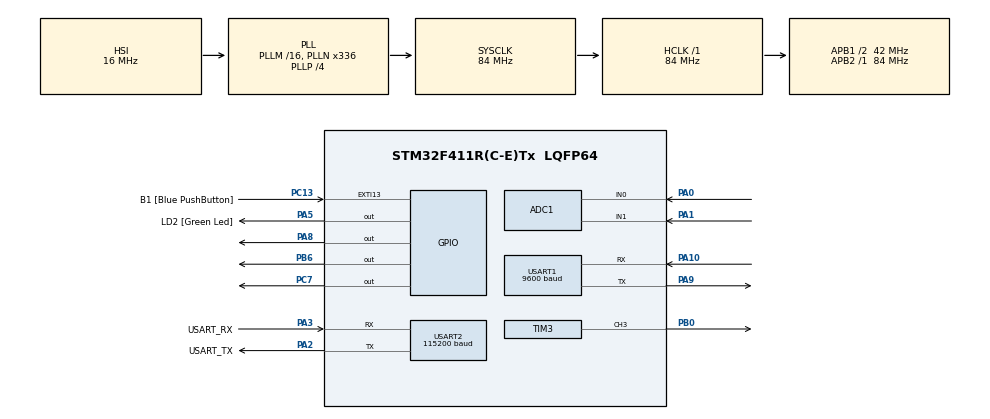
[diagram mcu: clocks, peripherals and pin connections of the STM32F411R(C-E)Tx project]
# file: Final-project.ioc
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ADC1.Channel-1\#ChannelRegularConversion=ADC_CHANNEL_0
ADC1.NbrOfConversionFlag=1
ADC1.Rank-1\#ChannelRegularConversion=1
ADC1.SamplingTime-1\#ChannelRegularConversion=ADC_SAMPLETIME_3CYCLES
ADC1.master=1
Mcu.Family=STM32F4
Mcu.Name=STM32F411R(C-E)Tx
Mcu.Package=LQFP64
NVIC.PriorityGroup=NVIC_PRIORITYGROUP_0
NVIC.USART1_IRQn=true\:0\:0\:false\:false\:true\:true\:true\:true
PA0-WKUP.Signal=ADCx_IN0
PA1.Signal=ADCx_IN1
PA10.Mode=Asynchronous
PA10.Signal=USART1_RX
PA13.GPIO_Label=TMS
PA13.Mode=Serial_Wire
PA13.Signal=SYS_JTMS-SWDIO
PA14.GPIO_Label=TCK
PA14.Mode=Serial_Wire
PA14.Signal=SYS_JTCK-SWCLK
PA2.GPIO_Label=USART_TX
PA2.Mode=Asynchronous
PA2.Signal=USART2_TX
PA3.GPIO_Label=USART_RX
PA3.Mode=Asynchronous
PA3.Signal=USART2_RX
PA5.GPIO_Label=LD2 [Green Led]
PA5.Signal=GPIO_Output
PA8.Signal=GPIO_Output
PA9.Mode=Asynchronous
PA9.Signal=USART1_TX
PB0.Signal=S_TIM3_CH3
PB3.GPIO_Label=SWO
PB3.Signal=SYS_JTDO-SWO
PB6.Signal=GPIO_Output
PC13-ANTI_TAMP.GPIO_Label=B1 [Blue PushButton]
PC13-ANTI_TAMP.GPIO_ModeDefaultEXTI=GPIO_MODE_IT_FALLING
PC13-ANTI_TAMP.Signal=GPXTI13
PC14-OSC32_IN.Mode=LSE-External-Oscillator
PC14-OSC32_IN.Signal=RCC_OSC32_IN
PC15-OSC32_OUT.Mode=LSE-External-Oscillator
PC15-OSC32_OUT.Signal=RCC_OSC32_OUT
PC7.Signal=GPIO_Output
PH0\ -\ OSC_IN.Mode=HSE-External-Clock-Source
PH0\ -\ OSC_IN.Signal=RCC_OSC_IN
PH1\ -\ OSC_OUT.Mode=HSE-External-Clock-Source
PH1\ -\ OSC_OUT.Signal=RCC_OSC_OUT
ProjectManager.HeapSize=0x200
ProjectManager.StackSize=0x400
ProjectManager.TargetToolchain=STM32CubeIDE
RCC.48MHZClocksFreq_Value=84000000
RCC.AHBFreq_Value=84000000
RCC.APB1CLKDivider=RCC_HCLK_DIV2
RCC.APB1Freq_Value=42000000
RCC.APB1TimFreq_Value=84000000
RCC.APB2Freq_Value=84000000
RCC.APB2TimFreq_Value=84000000
RCC.CortexFreq_Value=84000000
RCC.FLatency-AdvancedSettings=FLASH_LATENCY_2
RCC.HCLKFreq_Value=84000000
RCC.HSE_VALUE=8000000
RCC.HSI_VALUE=16000000
RCC.PLLN=336
RCC.PLLP=RCC_PLLP_DIV4
RCC.SYSCLKFreq_VALUE=84000000
RCC.SYSCLKSource=RCC_SYSCLKSOURCE_PLLCLK
RCC.VCOOutputFreq_Value=336000000
SH.ADCx_IN0.0=ADC1_IN0,IN0
SH.ADCx_IN1.0=ADC1_IN1,IN1
SH.S_TIM3_CH3.0=TIM3_CH3,PWM Generation3 CH3
TIM3.Channel-PWM\ Generation3\ CH3=TIM_CHANNEL_3
TIM3.Period=0xffff-1
TIM3.Prescaler=84-1
USART1.BaudRate=9600
USART1.VirtualMode=VM_ASYNC
USART2.BaudRate=115200
USART2.VirtualMode=VM_ASYNC
VP_TIM3_VS_ClockSourceINT.Mode=Internal
board=NUCLEO-F411RE

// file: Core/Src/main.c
/* USER CODE BEGIN Header */
/**
  ******************************************************************************
  * @file           : main.c
  * @brief          : Main program body
  ******************************************************************************
  * @attention
  *
  * Copyright (c) 2023 STMicroelectronics.
  * All rights reserved.
  *
  * This software is licensed under terms that can be found in the LICENSE file
  * in the root directory of this software component.
  * If no LICENSE file comes with this software, it is provided AS-IS.
  *
  ******************************************************************************
  */
/* USER CODE END Header */
#include "main.h"

/* USER CODE BEGIN Includes */
#include "DHT.h"
/* USER CODE END Includes */

/* USER CODE BEGIN PD */
#define Vin 3.3 //power voltage
#define R 10000 //Resistor

/* USER CODE END PD */

ADC_HandleTypeDef hadc1;

TIM_HandleTypeDef htim3;

UART_HandleTypeDef huart1;
UART_HandleTypeDef huart2;

/* USER CODE BEGIN PV */

typedef struct pair_temp_humid {
    double tCelsius;
    double humidity;
} tmp_humid;

int light;
double soilMoist;
tmp_humid tmpHumid;

char str[200];

char text[1000];
char rx_data[1];

int LEDstate = 0;
int animation = 0;

DHT_DataTypedef DHT11_Data;

/* USER CODE END PV */

void SystemClock_Config(void);
static void MX_GPIO_Init(void);
static void MX_USART2_UART_Init(void);
static void MX_ADC1_Init(void);
static void MX_TIM3_Init(void);
static void MX_USART1_UART_Init(void);

/* USER CODE BEGIN 0 */

uint32_t ADC_ReadChannel(uint32_t channel)
{

  ADC_ChannelConfTypeDef sConfig = {0};

  // Configure ADC channel
  sConfig.Channel = channel;
  sConfig.Rank = 1;
  sConfig.SamplingTime = ADC_SAMPLETIME_3CYCLES;

  HAL_ADC_ConfigChannel(&hadc1, &sConfig);

  // Start ADC conversion
  HAL_ADC_Start(&hadc1);

  // Wait for conversion to complete
  uint32_t adcValue = 0;

  if( HAL_ADC_PollForConversion(&hadc1, HAL_MAX_DELAY) == HAL_OK )
	  adcValue = HAL_ADC_GetValue(&hadc1);

  // Stop ADC conversion
  HAL_ADC_Stop(&hadc1);

  return adcValue;
}

//LDR --------------------------------------
int LDRconversion(int raw_val){
  // Conversion rule
  double Vout = (double)raw_val * Vin / ( 4096.0 - 1.0 );// Conversion analog to voltage
  double RLDR = (R * (Vin - Vout))/Vout; // Conversion voltage to resistance
  int lux = 500/(RLDR/1000); // Conversion resitance to lumen
  return lux;
}

void Light_intensity_readData(){
	int LDRval = 0;

	LDRval = ADC_ReadChannel(ADC_CHANNEL_0);

	//HAL_UART_Transmit(&huart2, (uint8_t*)str, sprintf(str, "LDR00-%d\r\n", LDRval )  , 10 );

	light = LDRconversion(LDRval);
}

//Soil Moisture ----------------------------
double SoilMoisturePercentage(int raw_val){

	//For Capacitive Soil Moisture Sensor
	//double percentage = 100 - ( (double)raw_val / ( 4096.0 - 1.0 ) ) * 100;

	//For probe - Noted: data is collected when Using Vin = 5 V, R = 330 ohm
	//ADC output when soil is dry = 0
	//ADC output when soil is in the water = 800 (approximately, test by dip probe in the water)
	double percentage = ( (double)raw_val / 800.0 ) * 100.0; // Conversion ADC value to percentage

	//Noted2: may have error due to data we collect (eg. a little bit higher than max we have known)
	if( percentage > 100.0 ) percentage = 100;

	return percentage;
}

void Soil_moisture_readData(){
	int SoilMoistval = 0;

	SoilMoistval = ADC_ReadChannel(ADC_CHANNEL_1);

	//HAL_UART_Transmit(&huart2, (uint8_t*)str, sprintf(str, "Soil01-%d\r\n", SoilMoistval )  , 10 );

	soilMoist = SoilMoisturePercentage(SoilMoistval);

}

//Temperature and Humidity -----------------
void Temp_Humid_readData(){

	DHT_GetData(&DHT11_Data);
	tmpHumid.tCelsius = DHT11_Data.Temperature;
	tmpHumid.humidity = DHT11_Data.Humidity;

}

//For Interact with NodeMCU
void HAL_UART_RxCpltCallback(UART_HandleTypeDef *huart) {

	if( huart == &huart1 ){
		int tInt = tmpHumid.tCelsius, tFloat = (int)( tmpHumid.tCelsius * 10 ) % 10;
		int aInt = tmpHumid.humidity, aFloat = (int)( tmpHumid.humidity * 10 ) % 10;
		int l = light;
		int sInt = soilMoist, sFloat = (int)( soilMoist * 10 ) % 10;

		sprintf(text, "{\"data\": {\"temperature\": %d.%d, \"airHumidity\": %d.%d, \"lightIntensity\": %d, \"soilHumidity\": %d.%d}}", tInt, tFloat, aInt, aFloat, l, sInt, sFloat);

		HAL_UART_Transmit(&huart1, text, strlen(text), 100);
	    //HAL_UART_Transmit(&huart2, text, strlen(text), 100); // internal uart
		HAL_UART_Receive_IT(&huart1, rx_data, 1);
	}

}

//Toggle LED
//Notice: Doesn't use
void Toggle_LED(){

	switch( LEDstate ){
		case 0: //HAL_GPIO_WritePin(GPIOA, GPIO_PIN_9, GPIO_PIN_RESET);
				HAL_GPIO_WritePin(GPIOC, GPIO_PIN_7, GPIO_PIN_SET);
				HAL_GPIO_WritePin(GPIOB, GPIO_PIN_6, GPIO_PIN_SET);
				break;
		case 1: //HAL_GPIO_WritePin(GPIOA, GPIO_PIN_9, GPIO_PIN_SET);
				HAL_GPIO_WritePin(GPIOC, GPIO_PIN_7, GPIO_PIN_RESET);
				HAL_GPIO_WritePin(GPIOB, GPIO_PIN_6, GPIO_PIN_SET);
				break;
		case 2: //HAL_GPIO_WritePin(GPIOA, GPIO_PIN_9, GPIO_PIN_SET);
				HAL_GPIO_WritePin(GPIOC, GPIO_PIN_7, GPIO_PIN_SET);
				HAL_GPIO_WritePin(GPIOB, GPIO_PIN_6, GPIO_PIN_RESET);
				break;
	}

	LEDstate = ( LEDstate + 1 ) % 3;

}

//Print kitten
//Notice: It is a very cute reporter.
void Print_console(){

	char escape_sequence2[16];
	sprintf(escape_sequence2, "\033[%d;%dH", 0, 0);
	HAL_UART_Transmit(&huart2, (uint8_t*)escape_sequence2, strlen(escape_sequence2), HAL_MAX_DELAY);

	char pData[100];

	int tInt = tmpHumid.tCelsius, tFloat = (int)( tmpHumid.tCelsius * 10 ) % 10;
	int aInt = tmpHumid.humidity, aFloat = (int)( tmpHumid.humidity * 10 ) % 10;
	int l = light;
	int sInt = soilMoist, sFloat = (int)( soilMoist * 10 ) % 10;

	HAL_UART_Transmit(&huart2, (uint8_t*)pData, sprintf(pData, " __________________________\r\n" )  , 10 );
	HAL_UART_Transmit(&huart2, (uint8_t*)pData, sprintf(pData, "|                          |\r\n" )  , 10 );
	HAL_UART_Transmit(&huart2, (uint8_t*)pData, sprintf(pData, "|  let's plant <3          |\r\n" )  , 10 );
	HAL_UART_Transmit(&huart2, (uint8_t*)pData, sprintf(pData, "|  Light Intensity:   %4d |\r\n", light )  , 10 );
	HAL_UART_Transmit(&huart2, (uint8_t*)pData, sprintf(pData, "|  Soil Moisture:    %3d.%d |\r\n", sInt, sFloat )  , 10 );
	HAL_UART_Transmit(&huart2, (uint8_t*)pData, sprintf(pData, "|  Temperature:    %3d.%d C |\r\n", tInt, tFloat )  , 10 );
	HAL_UART_Transmit(&huart2, (uint8_t*)pData, sprintf(pData, "|  Humidity:         %3d.%d |\r\n", aInt, aFloat )  , 10 );
	HAL_UART_Transmit(&huart2, (uint8_t*)pData, sprintf(pData, "|_______   ________________|\r\n" )  , 10 );
	HAL_UART_Transmit(&huart2, (uint8_t*)pData, sprintf(pData, "         V\r\n" )  , 10 );

	if( animation == 0 ){
		HAL_UART_Transmit(&huart2, (uint8_t*)pData, sprintf(pData, "      /\\_/\\   \r\n" )  , 10 );
		HAL_UART_Transmit(&huart2, (uint8_t*)pData, sprintf(pData, "     ( o.o )  \r\n" )  , 10 );
		HAL_UART_Transmit(&huart2, (uint8_t*)pData, sprintf(pData, "      > ^ <   \r\n" )  , 10 );
		HAL_UART_Transmit(&huart2, (uint8_t*)pData, sprintf(pData, "    /  \\_/  \\ \r\n" )  , 10 );
		HAL_UART_Transmit(&huart2, (uint8_t*)pData, sprintf(pData, "   /  ^   ^  \\ \r\n" )  , 10 );
		HAL_UART_Transmit(&huart2, (uint8_t*)pData, sprintf(pData, "  /__^__|__^__\\ \r\n" )  , 10 );
	}else{
		HAL_UART_Transmit(&huart2, (uint8_t*)pData, sprintf(pData, "      /\\_/\\   \r\n" )  , 10 );
		HAL_UART_Transmit(&huart2, (uint8_t*)pData, sprintf(pData, "     ( -.- )  \r\n" )  , 10 );
		HAL_UART_Transmit(&huart2, (uint8_t*)pData, sprintf(pData, "      > ^ <   \r\n" )  , 10 );
		HAL_UART_Transmit(&huart2, (uint8_t*)pData, sprintf(pData, "    /  \\_/  \\ \r\n" )  , 10 );
		HAL_UART_Transmit(&huart2, (uint8_t*)pData, sprintf(pData, "   /  ^   ^  \\ \r\n" )  , 10 );
		HAL_UART_Transmit(&huart2, (uint8_t*)pData, sprintf(pData, "  /__^__|__^__\\ \r\n" )  , 10 );
	}

	animation = ( animation + 1 ) % 2;

}

/* USER CODE END 0 */

int main(void)
{

  /* MCU Configuration--------------------------------------------------------*/

  /* Reset of all peripherals, Initializes the Flash interface and the Systick. */
  HAL_Init();

  /* Configure the system clock */
  SystemClock_Config();

  /* Initialize all configured peripherals */
  MX_GPIO_Init();
  MX_USART2_UART_Init();
  MX_ADC1_Init();
  MX_TIM3_Init();
  MX_USART1_UART_Init();
  /* USER CODE BEGIN 2 */

  HAL_UART_Receive_IT(&huart1, (uint8_t*) rx_data, 1);
  //HAL_TIM_Base_Start(&htim3);

  /* USER CODE END 2 */

  /* Infinite loop */
  /* USER CODE BEGIN WHILE */
  while (1)
  {

	 Light_intensity_readData();

	 Soil_moisture_readData();

	 Temp_Humid_readData();

	 Print_console( );

	 HAL_Delay(1000);

    /* USER CODE END WHILE */

  }
}

void SystemClock_Config(void)
{
  RCC_OscInitTypeDef RCC_OscInitStruct = {0};
  RCC_ClkInitTypeDef RCC_ClkInitStruct = {0};

  /** Configure the main internal regulator output voltage
  */
  __HAL_RCC_PWR_CLK_ENABLE();
  __HAL_PWR_VOLTAGESCALING_CONFIG(PWR_REGULATOR_VOLTAGE_SCALE1);

  /** Initializes the RCC Oscillators according to the specified parameters
  * in the RCC_OscInitTypeDef structure.
  */
  RCC_OscInitStruct.OscillatorType = RCC_OSCILLATORTYPE_HSI;
  RCC_OscInitStruct.HSIState = RCC_HSI_ON;
  RCC_OscInitStruct.HSICalibrationValue = RCC_HSICALIBRATION_DEFAULT;
  RCC_OscInitStruct.PLL.PLLState = RCC_PLL_ON;
  RCC_OscInitStruct.PLL.PLLSource = RCC_PLLSOURCE_HSI;
  RCC_OscInitStruct.PLL.PLLM = 16;
  RCC_OscInitStruct.PLL.PLLN = 336;
  RCC_OscInitStruct.PLL.PLLP = RCC_PLLP_DIV4;
  RCC_OscInitStruct.PLL.PLLQ = 4;
  if (HAL_RCC_OscConfig(&RCC_OscInitStruct) != HAL_OK)
  {
    Error_Handler();
  }

  /** Initializes the CPU, AHB and APB buses clocks
  */
  RCC_ClkInitStruct.ClockType = RCC_CLOCKTYPE_HCLK|RCC_CLOCKTYPE_SYSCLK
                              |RCC_CLOCKTYPE_PCLK1|RCC_CLOCKTYPE_PCLK2;
  RCC_ClkInitStruct.SYSCLKSource = RCC_SYSCLKSOURCE_PLLCLK;
  RCC_ClkInitStruct.AHBCLKDivider = RCC_SYSCLK_DIV1;
  RCC_ClkInitStruct.APB1CLKDivider = RCC_HCLK_DIV2;
  RCC_ClkInitStruct.APB2CLKDivider = RCC_HCLK_DIV1;

  if (HAL_RCC_ClockConfig(&RCC_ClkInitStruct, FLASH_LATENCY_2) != HAL_OK)
  {
    Error_Handler();
  }
}

static void MX_ADC1_Init(void)
{

  ADC_ChannelConfTypeDef sConfig = {0};

  /** Configure the global features of the ADC (Clock, Resolution, Data Alignment and number of conversion)
  */
  hadc1.Instance = ADC1;
  hadc1.Init.ClockPrescaler = ADC_CLOCK_SYNC_PCLK_DIV4;
  hadc1.Init.Resolution = ADC_RESOLUTION_12B;
  hadc1.Init.ScanConvMode = DISABLE;
  hadc1.Init.ContinuousConvMode = DISABLE;
  hadc1.Init.DiscontinuousConvMode = DISABLE;
  hadc1.Init.ExternalTrigConvEdge = ADC_EXTERNALTRIGCONVEDGE_NONE;
  hadc1.Init.ExternalTrigConv = ADC_SOFTWARE_START;
  hadc1.Init.DataAlign = ADC_DATAALIGN_RIGHT;
  hadc1.Init.NbrOfConversion = 1;
  hadc1.Init.DMAContinuousRequests = DISABLE;
  hadc1.Init.EOCSelection = ADC_EOC_SINGLE_CONV;
  if (HAL_ADC_Init(&hadc1) != HAL_OK)
  {
    Error_Handler();
  }

  /** Configure for the selected ADC regular channel its corresponding rank in the sequencer and its sample time.
  */
  sConfig.Channel = ADC_CHANNEL_0;
  sConfig.Rank = 1;
  sConfig.SamplingTime = ADC_SAMPLETIME_3CYCLES;
  if (HAL_ADC_ConfigChannel(&hadc1, &sConfig) != HAL_OK)
  {
    Error_Handler();
  }

}

static void MX_TIM3_Init(void)
{

  TIM_ClockConfigTypeDef sClockSourceConfig = {0};
  TIM_MasterConfigTypeDef sMasterConfig = {0};
  TIM_OC_InitTypeDef sConfigOC = {0};

  htim3.Instance = TIM3;
  htim3.Init.Prescaler = 84-1;
  htim3.Init.CounterMode = TIM_COUNTERMODE_UP;
  htim3.Init.Period = 0xffff-1;
  htim3.Init.ClockDivision = TIM_CLOCKDIVISION_DIV1;
  htim3.Init.AutoReloadPreload = TIM_AUTORELOAD_PRELOAD_DISABLE;
  if (HAL_TIM_Base_Init(&htim3) != HAL_OK)
  {
    Error_Handler();
  }
  sClockSourceConfig.ClockSource = TIM_CLOCKSOURCE_INTERNAL;
  if (HAL_TIM_ConfigClockSource(&htim3, &sClockSourceConfig) != HAL_OK)
  {
    Error_Handler();
  }
  if (HAL_TIM_PWM_Init(&htim3) != HAL_OK)
  {
    Error_Handler();
  }
  sMasterConfig.MasterOutputTrigger = TIM_TRGO_RESET;
  sMasterConfig.MasterSlaveMode = TIM_MASTERSLAVEMODE_DISABLE;
  if (HAL_TIMEx_MasterConfigSynchronization(&htim3, &sMasterConfig) != HAL_OK)
  {
    Error_Handler();
  }
  sConfigOC.OCMode = TIM_OCMODE_PWM1;
  sConfigOC.Pulse = 0;
  sConfigOC.OCPolarity = TIM_OCPOLARITY_HIGH;
  sConfigOC.OCFastMode = TIM_OCFAST_DISABLE;
  if (HAL_TIM_PWM_ConfigChannel(&htim3, &sConfigOC, TIM_CHANNEL_3) != HAL_OK)
  {
    Error_Handler();
  }
  HAL_TIM_MspPostInit(&htim3);

}

static void MX_USART1_UART_Init(void)
{

  huart1.Instance = USART1;
  huart1.Init.BaudRate = 9600;
  huart1.Init.WordLength = UART_WORDLENGTH_8B;
  huart1.Init.StopBits = UART_STOPBITS_1;
  huart1.Init.Parity = UART_PARITY_NONE;
  huart1.Init.Mode = UART_MODE_TX_RX;
  huart1.Init.HwFlowCtl = UART_HWCONTROL_NONE;
  huart1.Init.OverSampling = UART_OVERSAMPLING_16;
  if (HAL_UART_Init(&huart1) != HAL_OK)
  {
    Error_Handler();
  }

}

static void MX_USART2_UART_Init(void)
{

  huart2.Instance = USART2;
  huart2.Init.BaudRate = 115200;
  huart2.Init.WordLength = UART_WORDLENGTH_8B;
  huart2.Init.StopBits = UART_STOPBITS_1;
  huart2.Init.Parity = UART_PARITY_NONE;
  huart2.Init.Mode = UART_MODE_TX_RX;
  huart2.Init.HwFlowCtl = UART_HWCONTROL_NONE;
  huart2.Init.OverSampling = UART_OVERSAMPLING_16;
  if (HAL_UART_Init(&huart2) != HAL_OK)
  {
    Error_Handler();
  }

}

static void MX_GPIO_Init(void)
{
  GPIO_InitTypeDef GPIO_InitStruct = {0};

  /* GPIO Ports Clock Enable */
  __HAL_RCC_GPIOC_CLK_ENABLE();
  __HAL_RCC_GPIOH_CLK_ENABLE();
  __HAL_RCC_GPIOA_CLK_ENABLE();
  __HAL_RCC_GPIOB_CLK_ENABLE();

  /*Configure GPIO pin Output Level */
  HAL_GPIO_WritePin(GPIOA, LD2_Pin|GPIO_PIN_8, GPIO_PIN_RESET);

  /*Configure GPIO pin Output Level */
  HAL_GPIO_WritePin(GPIOC, GPIO_PIN_7, GPIO_PIN_RESET);

  /*Configure GPIO pin Output Level */
  HAL_GPIO_WritePin(GPIOB, GPIO_PIN_6, GPIO_PIN_RESET);

  /*Configure GPIO pin : B1_Pin */
  GPIO_InitStruct.Pin = B1_Pin;
  GPIO_InitStruct.Mode = GPIO_MODE_IT_FALLING;
  GPIO_InitStruct.Pull = GPIO_NOPULL;
  HAL_GPIO_Init(B1_GPIO_Port, &GPIO_InitStruct);

  /*Configure GPIO pins : LD2_Pin PA8 */
  GPIO_InitStruct.Pin = LD2_Pin|GPIO_PIN_8;
  GPIO_InitStruct.Mode = GPIO_MODE_OUTPUT_PP;
  GPIO_InitStruct.Pull = GPIO_NOPULL;
  GPIO_InitStruct.Speed = GPIO_SPEED_FREQ_LOW;
  HAL_GPIO_Init(GPIOA, &GPIO_InitStruct);

  /*Configure GPIO pin : PC7 */
  GPIO_InitStruct.Pin = GPIO_PIN_7;
  GPIO_InitStruct.Mode = GPIO_MODE_OUTPUT_PP;
  GPIO_InitStruct.Pull = GPIO_NOPULL;
  GPIO_InitStruct.Speed = GPIO_SPEED_FREQ_LOW;
  HAL_GPIO_Init(GPIOC, &GPIO_InitStruct);

  /*Configure GPIO pin : PB6 */
  GPIO_InitStruct.Pin = GPIO_PIN_6;
  GPIO_InitStruct.Mode = GPIO_MODE_OUTPUT_PP;
  GPIO_InitStruct.Pull = GPIO_NOPULL;
  GPIO_InitStruct.Speed = GPIO_SPEED_FREQ_LOW;
  HAL_GPIO_Init(GPIOB, &GPIO_InitStruct);

}

void Error_Handler(void)
{
  __disable_irq();
  while (1)
  {
  }
}
